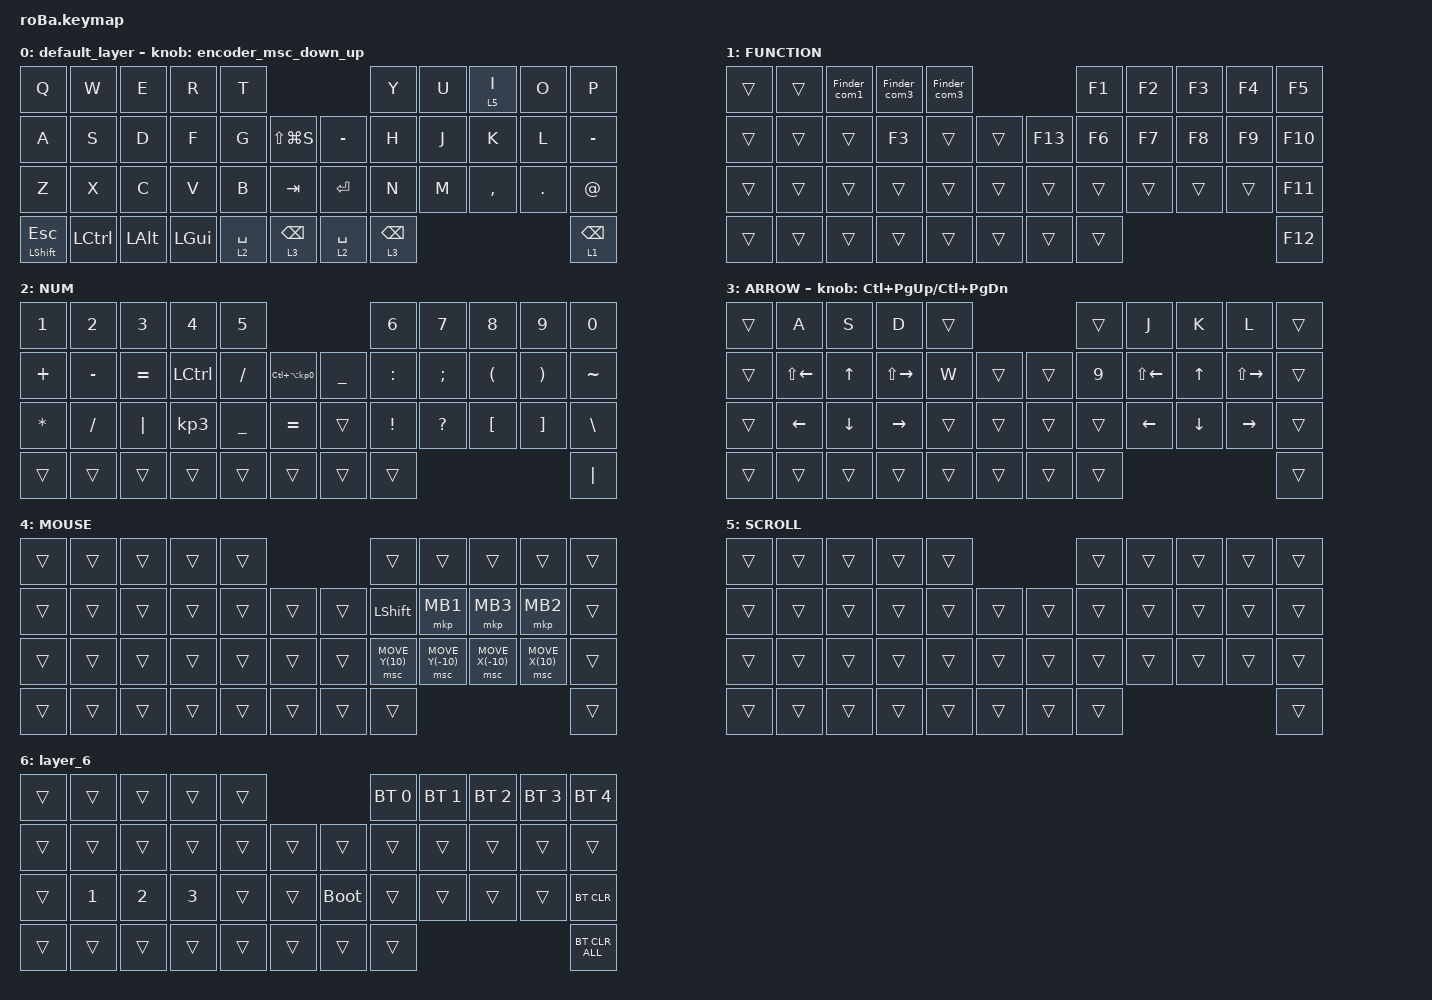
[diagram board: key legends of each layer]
#include <behaviors.dtsi>
#include <dt-bindings/zmk/bt.h>
#include <dt-bindings/zmk/keys.h>
#include <dt-bindings/zmk/pointing.h>

// #includeのあとのあたりにスクロール量変更の定義を追記

#define ZMK_POINTING_DEFAULT_SCRL_VAL 80
#define MOUSE 4
#define SCROLL 5
#define NUM 6

&mt {
    flavor = "balanced";
    quick-tap-ms = <0>;
};

/ {
    combos {
        compatible = "zmk,combos";

        Esca {
            bindings = <&kp ESC>;
            key-positions = <0 1>;
        };

        com2 {
            bindings = <&Finder_com2>;
            key-positions = <1 2>;
        };

        com3 {
            bindings = <&Finder_com3>;
            key-positions = <2 3>;
        };

        mis_com {
            bindings = <&mis_Ctl>;
            key-positions = <14 13>;
        };

        jp {
            bindings = <&kp INT_KANA>;
            key-positions = <29 30>;
        };

        EN {
            bindings = <&kp INT1>;
            key-positions = <26 25>;
        };

        tab {
            bindings = <&kp TAB>;
            key-positions = <10 11>;
        };

        click {
            bindings = <&mkp MB1>;
            key-positions = <30 31>;
        };

        Rclick {
            bindings = <&mkp MB2>;
            key-positions = <31 32>;
        };

        MouseUP {
            bindings = <&msc SCRL_UP>;
            key-positions = <13 12>;
        };

        MouseDoun {
            bindings = <&msc SCRL_DOWN>;
            key-positions = <12 11>;
        };

        VolUP {
            bindings = <&kp C_VOLUME_UP>;
            key-positions = <4 14>;
        };

        VolDoun {
            bindings = <&kp C_VOL_DN>;
            key-positions = <26 14>;
        };

        Undo {
            bindings = <&kp LG(Z)>;
            key-positions = <22 23>;
        };

        Redo {
            bindings = <&kp LS(LG(Z))>;
            key-positions = <22 23 24>;
        };

        copy {
            bindings = <&kp LG(C)>;
            key-positions = <23 24 25>;
        };

        Past {
            bindings = <&kp LG(V)>;
            key-positions = <26 25 24>;
        };

        bsp {
            bindings = <&kp BACKSPACE>;
            key-positions = <9 8>;
        };

        ent {
            bindings = <&kp ENTER>;
            key-positions = <21 20>;
        };
    };

    macros {
        to_layer_0: to_layer_0 {
            compatible = "zmk,behavior-macro-one-param";
            #binding-cells = <1>;
            bindings = <&to 0 &macro_param_1to1 &kp MACRO_PLACEHOLDER>;
            label = "TO_LAYER_0";
        };

        Finder_com1: Finder_com1 {
            compatible = "zmk,behavior-macro";
            #binding-cells = <0>;
            bindings = <&kp LG(NUMBER_1)>;
            label = "FINDER_COM1";
        };

        Finder_com2: Finder_2 {
            compatible = "zmk,behavior-macro";
            #binding-cells = <0>;
            bindings = <&kp LG(NUMBER_2)>;
            label = "FINDER_2";
        };

        Finder_com3: new_macro {
            compatible = "zmk,behavior-macro";
            #binding-cells = <0>;
            bindings = <&kp LG(NUMBER_3)>;
            label = "NEW_MACRO";
        };

        mis_Ctl: mis_Ctl {
            compatible = "zmk,behavior-macro";
            #binding-cells = <0>;
            bindings = <&kp LC(UP_ARROW)>;
            label = "MIS_CTL";
        };

        WM_R: WM_R {
            compatible = "zmk,behavior-macro";
            #binding-cells = <0>;
            bindings = <&kp LC(RIGHT_ARROW)>;
            label = "WM_R";
        };

        WM_L: WM_L {
            compatible = "zmk,behavior-macro";
            #binding-cells = <0>;
            bindings = <&kp LC(LEFT_ARROW)>;
            label = "WM_L";
        };
    };

    behaviors {
        lt_to_layer_0: lt_to_layer_0 {
            compatible = "zmk,behavior-hold-tap";
            label = "LAYER_TAP_TO_0";
            bindings = <&mo>, <&to_layer_0>;

            #binding-cells = <2>;
            tapping-term-ms = <200>;
        };

        // combosやmacrosと同じ階層に以下のbihaviorsを追記
        // スクロール方向を逆にしたい場合は <&msc SCRL_DOWN> と <&msc SCRL_UP> を入れ替えてください

        encoder_msc_down_up: encoder_msc_down_up {
            compatible = "zmk,behavior-sensor-rotate";
            label = "ENCODER_MSC_DOWN_UP";
            #sensor-binding-cells = <0>;
            bindings = <&msc SCRL_DOWN>, <&msc SCRL_UP>;

            tap-ms = <20>;
        };
    };

    keymap {
        compatible = "zmk,keymap";

        default_layer {
            bindings = <
&kp Q           &kp W      &kp E         &kp R         &kp T                                          &kp Y            &kp U  &lt 5 I    &kp O    &kp P
&kp A           &kp S      &kp D         &kp F         &kp G        &kp LS(LG(S))        &kp MINUS    &kp H            &kp J  &kp K      &kp L    &kp MINUS
&kp Z           &kp X      &kp C         &kp V         &kp B        &kp TAB              &kp ENTER    &kp N            &kp M  &kp COMMA  &kp DOT  &kp AT_SIGN
&mt LSHIFT ESC  &kp LCTRL  &kp LEFT_ALT  &kp LEFT_GUI  &lt 2 SPACE  &lt 3 BACKSPACE      &lt 2 SPACE  &lt 3 BACKSPACE                             &lt 1 BACKSPACE
            >;

            sensor-bindings = <&encoder_msc_down_up>;
        };

        FUNCTION {
            bindings = <
&trans  &trans  &Finder_com1  &Finder_com3  &Finder_com3                       &kp F1  &kp F2  &kp F3  &kp F4  &kp F5
&trans  &trans  &trans        &kp F3        &trans        &trans      &kp F13  &kp F6  &kp F7  &kp F8  &kp F9  &kp F10
&trans  &trans  &trans        &trans        &trans        &trans      &trans   &trans  &trans  &trans  &trans  &kp F11
&trans  &trans  &trans        &trans        &trans        &trans      &trans   &trans                          &kp F12
            >;
        };

        NUM {
            bindings = <
&kp NUMBER_1  &kp NUMBER_2  &kp NUMBER_3  &kp NUMBER_4     &kp N5                                                       &kp NUMBER_6     &kp N7         &kp N8                &kp N9                 &kp N0
&kp PLUS      &kp MINUS     &kp EQUAL     &kp LCTRL        &kp SLASH       &kp LC(LA(KP_NUMBER_0))      &kp UNDERSCORE  &kp COLON        &kp SEMICOLON  &kp LEFT_PARENTHESIS  &kp RIGHT_PARENTHESIS  &kp TILDE
&kp ASTERISK  &kp SLASH     &kp PIPE      &kp KP_NUMBER_3  &kp UNDERSCORE  &kp EQUAL                    &trans          &kp EXCLAMATION  &kp QUESTION   &kp LEFT_BRACKET      &kp RIGHT_BRACKET      &kp BACKSLASH
&trans        &trans        &trans        &trans           &trans          &trans                       &trans          &trans                                                                       &kp PIPE
            >;
        };

        ARROW {
            bindings = <
&trans  &kp A               &kp S         &kp D                &trans                      &trans        &kp J           &kp K           &kp L          &trans
&trans  &kp LS(LEFT_ARROW)  &kp UP_ARROW  &kp LS(RIGHT_ARROW)  &kp W   &trans      &trans  &kp NUMBER_9  &kp LS(LEFT)    &kp UP_ARROW    &kp LS(RIGHT)  &trans
&trans  &kp LEFT            &kp DOWN      &kp RIGHT_ARROW      &trans  &trans      &trans  &trans        &kp LEFT_ARROW  &kp DOWN_ARROW  &kp RIGHT      &trans
&trans  &trans              &trans        &trans               &trans  &trans      &trans  &trans                                                       &trans
            >;

            sensor-bindings = <&inc_dec_kp LC(PAGE_UP) LC(PAGE_DOWN)>;
        };

        MOUSE {
            bindings = <
&trans  &trans  &trans  &trans  &trans                      &trans           &trans            &trans            &trans           &trans
&trans  &trans  &trans  &trans  &trans  &trans      &trans  &kp LEFT_SHIFT   &mkp MB1          &mkp MB3          &mkp MB2         &trans
&trans  &trans  &trans  &trans  &trans  &trans      &trans  &msc MOVE_Y(10)  &msc MOVE_Y(-10)  &msc MOVE_X(-10)  &msc MOVE_X(10)  &trans
&trans  &trans  &trans  &trans  &trans  &trans      &trans  &trans                                                                &trans
            >;
        };

        SCROLL {
            bindings = <
&trans  &trans  &trans  &trans  &trans                      &trans  &trans  &trans  &trans  &trans
&trans  &trans  &trans  &trans  &trans  &trans      &trans  &trans  &trans  &trans  &trans  &trans
&trans  &trans  &trans  &trans  &trans  &trans      &trans  &trans  &trans  &trans  &trans  &trans
&trans  &trans  &trans  &trans  &trans  &trans      &trans  &trans                          &trans
            >;
        };

        layer_6 {
            bindings = <
&trans  &trans        &trans        &trans        &trans                           &bt BT_SEL 0  &bt BT_SEL 1  &bt BT_SEL 2  &bt BT_SEL 3  &bt BT_SEL 4
&trans  &trans        &trans        &trans        &trans  &trans      &trans       &trans        &trans        &trans        &trans        &trans
&trans  &kp NUMBER_1  &kp NUMBER_2  &kp NUMBER_3  &trans  &trans      &bootloader  &trans        &trans        &trans        &trans        &bt BT_CLR
&trans  &trans        &trans        &trans        &trans  &trans      &trans       &trans                                                  &bt BT_CLR_ALL
            >;
        };
    };
};
